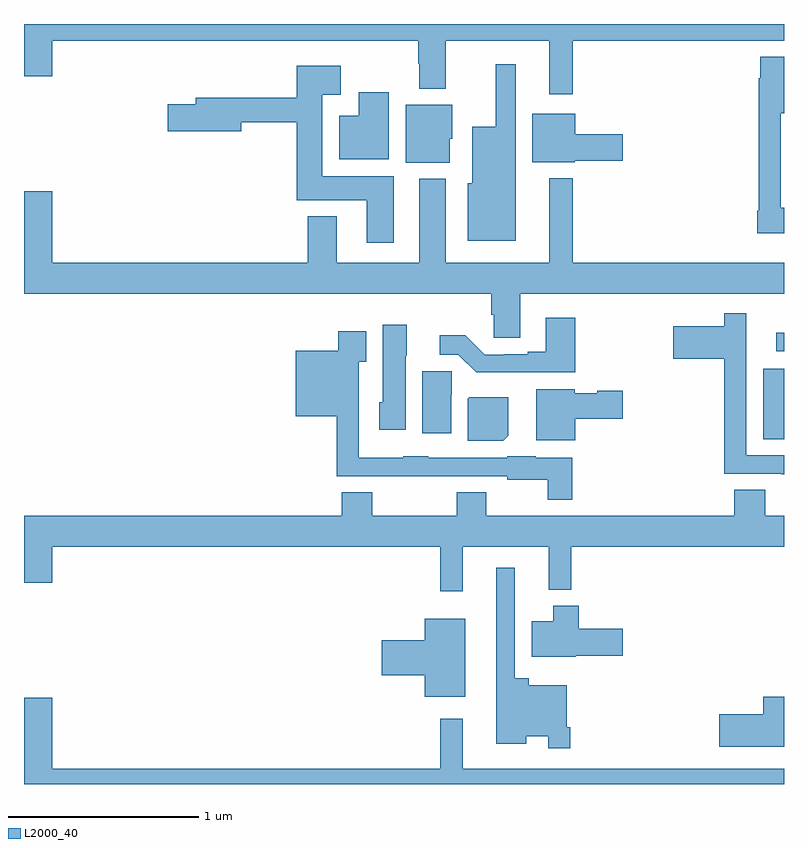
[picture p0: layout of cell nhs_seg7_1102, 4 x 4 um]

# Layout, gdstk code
import gdstk
lib = gdstk.Library(unit=1e-6, precision=1e-09)
def R(c, l, rs):  # rectangles x0, y0, x1, y1
    for r in rs: c.add(gdstk.rectangle(r[:2], r[2:], *l))
def P(c, l, *ps):  # polygons
    for p in ps: c.add(gdstk.Polygon(p, *l))
L2000_40 = (2000, 40)

nhs_seg7_1102 = lib.new_cell('nhs_seg7_1102')
R(nhs_seg7_1102, L2000_40, [(192.89,1035.814,193,1036.185), (192.96,1036.278,193,1036.375)])
P(nhs_seg7_1102, L2000_40, [(191.887,1037.912),(193,1037.912),(193,1038),(189,1038),(189,1037.724),(189.148,1037.724),(189.148,1037.912),(191.074,1037.912),(191.074,1037.792),(191.081,1037.792),(191.081,1037.66),(191.221,1037.66),(191.221,1037.912),(191.765,1037.912),(191.765,1037.631),(191.887,1037.631)],
  [(193,1037.033),(192.984,1037.033),(192.984,1037.529),(193,1037.529),(193,1037.827),(192.875,1037.827),(192.875,1037.714),(192.868,1037.714),(192.868,1037.016),(192.86,1037.016),(192.86,1036.898),(193,1036.898)],
  [(191.587,1037.788),(191.483,1037.788),(191.483,1037.458),(191.36,1037.458),(191.36,1037.163),(191.336,1037.163),(191.336,1036.859),(191.587,1036.859)],
  [(190.945,1037.2),(190.57,1037.2),(190.57,1037.627),(190.666,1037.627),(190.666,1037.779),(190.436,1037.779),(190.436,1037.611),(189.905,1037.611),(189.905,1037.577),(189.756,1037.577),(189.756,1037.435),(190.144,1037.435),(190.144,1037.482),(190.436,1037.482),(190.436,1037.072),(190.805,1037.072),(190.805,1036.848),(190.945,1036.848)],
  [(190.921,1037.641),(190.763,1037.641),(190.763,1037.518),(190.658,1037.518),(190.658,1037.288),(190.921,1037.288)],
  [(191.242,1037.397),(191.254,1037.397),(191.254,1037.575),(191.009,1037.575),(191.009,1037.27),(191.242,1037.27)],
  [(191.898,1037.279),(192.151,1037.279),(192.151,1037.421),(191.902,1037.421),(191.902,1037.527),(191.675,1037.527),(191.675,1037.273),(191.898,1037.273)],
  [(191.611,1036.58),(193,1036.58),(193,1036.744),(191.887,1036.744),(191.887,1037.188),(191.765,1037.188),(191.765,1036.744),(191.221,1036.744),(191.221,1037.185),(191.081,1037.185),(191.081,1036.744),(190.645,1036.744),(190.645,1036.987),(190.493,1036.987),(190.493,1036.744),(189.148,1036.744),(189.148,1037.119),(189,1037.119),(189,1036.58),(191.459,1036.58),(191.459,1036.47),(191.472,1036.47),(191.472,1036.348),(191.611,1036.348)],
  [(193,1035.729),(192.801,1035.729),(192.801,1036.254),(192.802,1036.254),(192.802,1036.477),(192.685,1036.477),(192.685,1036.408),(192.417,1036.408),(192.417,1036.238),(192.685,1036.238),(192.685,1035.633),(192.985,1035.633),(192.985,1035.631),(193,1035.631)],
  [(191.9,1036.453),(191.747,1036.453),(191.747,1036.276),(191.651,1036.276),(191.651,1036.263),(191.524,1036.263),(191.524,1036.26),(191.424,1036.26),(191.322,1036.363),(191.187,1036.363),(191.187,1036.26),(191.286,1036.26),(191.381,1036.166),(191.9,1036.166)],
  [(191.008,1036.254),(191.014,1036.254),(191.014,1036.417),(190.889,1036.417),(190.889,1036.008),(190.871,1036.008),(190.871,1035.864),(191.008,1035.864)],
  [(191.885,1035.718),(191.694,1035.718),(191.694,1035.724),(191.544,1035.724),(191.544,1035.717),(191.127,1035.717),(191.127,1035.724),(190.995,1035.724),(190.995,1035.718),(190.761,1035.718),(190.761,1036.223),(190.801,1036.223),(190.801,1036.384),(190.653,1036.384),(190.653,1036.279),(190.43,1036.279),(190.43,1035.935),(190.645,1035.935),(190.645,1035.621),(190.895,1035.621),(190.895,1035.62),(191.127,1035.62),(191.127,1035.621),(191.544,1035.621),(191.544,1035.602),(191.757,1035.602),(191.757,1035.497),(191.885,1035.497)],
  [(191.248,1036.05),(191.252,1036.05),(191.252,1036.173),(191.096,1036.173),(191.096,1035.846),(191.248,1035.846)],
  [(191.902,1035.923),(192.151,1035.923),(192.151,1036.07),(192.018,1036.07),(192.018,1036.057),(191.898,1036.057),(191.898,1036.078),(191.696,1036.078),(191.696,1035.809),(191.902,1035.809)],
  [(191.548,1035.832),(191.548,1036.036),(191.344,1036.036),(191.336,1036.028),(191.336,1035.806),(191.522,1035.806)],
  [(191.309,1035.248),(191.762,1035.248),(191.762,1035.023),(191.879,1035.023),(191.879,1035.248),(193,1035.248),(193,1035.412),(192.902,1035.412),(192.902,1035.548),(192.737,1035.548),(192.737,1035.412),(191.433,1035.412),(191.433,1035.536),(191.278,1035.536),(191.278,1035.412),(190.833,1035.412),(190.833,1035.536),(190.673,1035.536),(190.673,1035.412),(189,1035.412),(189,1035.06),(189.148,1035.06),(189.148,1035.248),(191.191,1035.248),(191.191,1035.015),(191.309,1035.015)],
  [(191.876,1034.299),(191.856,1034.299),(191.856,1034.521),(191.657,1034.521),(191.657,1034.557),(191.583,1034.557),(191.583,1035.139),(191.486,1035.139),(191.486,1034.213),(191.644,1034.213),(191.644,1034.252),(191.76,1034.252),(191.76,1034.187),(191.876,1034.187)],
  [(191.904,1034.675),(192.151,1034.675),(192.151,1034.817),(191.921,1034.817),(191.921,1034.938),(191.786,1034.938),(191.786,1034.857),(191.672,1034.857),(191.672,1034.669),(191.904,1034.669)],
  [(191.323,1034.869),(191.108,1034.869),(191.108,1034.756),(190.884,1034.756),(190.884,1034.573),(191.108,1034.573),(191.108,1034.459),(191.323,1034.459)],
  [(193,1034.458),(192.89,1034.458),(192.89,1034.366),(192.66,1034.366),(192.66,1034.195),(193,1034.195)],
  [(193,1034.08),(191.308,1034.08),(191.308,1034.344),(191.191,1034.344),(191.191,1034.08),(189.148,1034.08),(189.148,1034.455),(189,1034.455),(189,1034),(193,1034)])

lib.write_gds('nhs_seg7_1102.gds')
